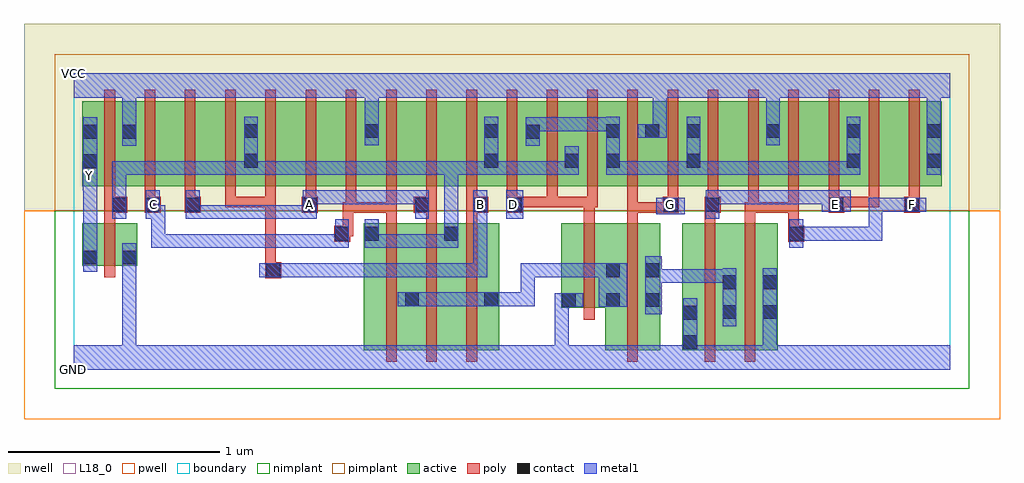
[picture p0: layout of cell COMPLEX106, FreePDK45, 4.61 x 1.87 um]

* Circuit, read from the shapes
.subckt COMPLEX106 A B C D E F G GND VCC Y
M1 GND n1 Y VSUBS nfet w=0.2u l=0.05u
M2 n2 C n1 VSUBS nfet w=0.6u l=0.05u
M3 n1 A n2 VSUBS nfet w=0.6u l=0.05u
M4 n2 B n1 VSUBS nfet w=0.6u l=0.05u
M5 n2 D GND VSUBS nfet w=0.4u l=0.05u
M6 n3 G n2 VSUBS nfet w=0.6u l=0.05u
M7 n3 E GND VSUBS nfet w=0.6u l=0.05u
M8 GND F n3 VSUBS nfet w=0.6u l=0.05u
M9 VCC n1 Y n4 pfet w=0.4u l=0.05u
M10 n5 C VCC n4 pfet w=0.4u l=0.05u
M11 n6 A n5 n4 pfet w=0.4u l=0.05u
M12 n1 B n6 n4 pfet w=0.4u l=0.05u
M13 n7 B n1 n4 pfet w=0.4u l=0.05u
M14 n8 A n7 n4 pfet w=0.4u l=0.05u
M15 VCC C n8 n4 pfet w=0.4u l=0.05u
M16 n9 C VCC n4 pfet w=0.4u l=0.05u
M17 n10 A n9 n4 pfet w=0.4u l=0.05u
M18 n1 B n10 n4 pfet w=0.4u l=0.05u
M19 n11 D n1 n4 pfet w=0.4u l=0.05u m=3
M20 VCC G n11 n4 pfet w=0.4u l=0.05u m=2
M21 n12 E n11 n4 pfet w=0.4u l=0.05u
M22 VCC F n12 n4 pfet w=0.4u l=0.05u
M23 n13 F VCC n4 pfet w=0.4u l=0.05u
M24 n11 E n13 n4 pfet w=0.4u l=0.05u
M25 n14 E n11 n4 pfet w=0.4u l=0.05u
M26 VCC F n14 n4 pfet w=0.4u l=0.05u
.ends

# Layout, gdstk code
import gdstk
lib = gdstk.Library(unit=1e-6, precision=1e-09)
def R(c, l, rs):  # rectangles x0, y0, x1, y1
    for r in rs: c.add(gdstk.rectangle(r[:2], r[2:], *l))
def A(c, l, x, y, w, h, nx, ny, dx, dy):  # array of equal rectangles
    R(c, l, [(x+i*dx, y+j*dy, x+i*dx+w, y+j*dy+h) for i in range(nx) for j in range(ny)])
active = (1, 0)
pwell = (2, 0)
nwell = (3, 0)
nimplant = (4, 0)
pimplant = (5, 0)
poly = (9, 0)
contact = (10, 0)
metal1 = (11, 0)
L18_0 = (18, 0)
boundary = (235, 0)

complex106 = lib.new_cell('COMPLEX106')
A(complex106, active, 0.455, 0.867, 0.19, 0.4, 3, 1, 0.57, 0)
A(complex106, active, 1.935, 0.867, 0.27, 0.4, 3, 1, 0.38, 0)
A(complex106, active, 3.115, 0.867, 0.225, 0.4, 3, 1, 0.38, 0)
R(complex106, active, [(1.37,0.092,1.635,0.692), (1.56,0.092,1.82,0.692), (1.745,0.092,2.01,0.692), (2.51,0.092,2.77,0.692), (2.875,0.092,2.95,0.692), (2.875,0.092,3.135,0.692), (3.06,0.092,3.325,0.692), (3.25,0.092,3.325,0.692), (1.37,0.095,1.445,0.692), (1.56,0.095,1.635,0.68), (1.745,0.095,1.82,0.692), (1.935,0.095,2.01,0.692), (2.695,0.095,2.77,0.692), (3.06,0.095,3.135,0.692), (2.51,0.2,2.585,0.507), (2.302,0.292,2.585,0.692), (2.302,0.292,2.377,0.692), (0.04,0.492,0.115,0.692), (0.04,0.492,0.3,0.692), (0.225,0.492,0.3,0.692), (0.04,0.867,0.115,1.2), (0.04,0.867,0.3,1.267), (0.225,0.867,0.455,1.267), (0.645,0.867,0.875,1.267), (0.8,0.867,1.025,1.267), (0.8,0.867,0.875,1.2), (1.215,0.867,1.445,1.267), (1.37,0.867,1.445,1.267), (1.37,0.867,1.595,1.267), (1.785,0.867,2.01,1.267), (1.935,0.867,2.01,1.2), (2.13,0.867,2.39,1.267), (2.315,0.867,2.39,1.07), (2.51,0.867,2.585,1.2), (2.51,0.867,2.77,1.267), (2.695,0.867,2.77,1.267), (2.89,0.867,3.115,1.267), (2.89,0.867,2.965,1.2), (3.265,0.867,3.495,1.267), (3.645,0.867,3.875,1.267), (4.025,0.867,4.1,1.205), (0.225,0.907,0.3,1.205), (2.13,0.907,2.205,1.2), (3.265,0.907,3.34,1.242), (3.645,0.907,3.72,1.2)])
R(complex106, pwell, [(-0.235,-0.235,4.375,0.75)])
R(complex106, nwell, [(-0.235,0.75,4.375,1.635)])
R(complex106, nimplant, [(-0.09,-0.09,4.23,0.75)])
R(complex106, pimplant, [(-0.09,0.75,4.23,1.49)])
A(complex106, poly, 1.475, 0.037, 0.05, 0.71, 3, 1, 0.19, 0)
A(complex106, poly, 1.475, 0.697, 0.05, 0.095, 3, 1, 0.19, 0)
A(complex106, poly, 0.145, 0.767, 0.05, 0.095, 6, 1, 0.19, 0)
A(complex106, poly, 1.665, 0.767, 0.05, 0.095, 5, 1, 0.19, 0)
A(complex106, poly, 3.565, 0.767, 0.05, 0.095, 3, 1, 0.19, 0)
A(complex106, poly, 0.145, 0.812, 0.05, 0.51, 21, 1, 0.19, 0)
R(complex106, poly, [(2.615,0.037,2.665,0.747), (2.98,0.037,3.03,0.747), (3.17,0.037,3.22,0.747), (2.41,0.237,2.46,0.747), (0.905,0.432,0.98,0.507), (0.145,0.437,0.195,0.747), (0.905,0.457,0.955,0.507), (0.905,0.457,0.955,0.507), (0.905,0.457,0.955,0.817), (1.23,0.605,1.305,0.68), (3.375,0.605,3.45,0.68), (1.255,0.63,1.305,0.68), (1.255,0.63,1.32,0.68), (1.27,0.63,1.32,0.792), (3.375,0.63,3.425,0.68), (3.375,0.63,3.425,0.68), (3.375,0.63,3.425,0.792), (0.145,0.697,0.195,0.792), (2.41,0.697,2.46,0.817), (2.615,0.697,2.665,0.792), (2.98,0.697,3.03,0.792), (3.17,0.697,3.22,0.792), (0.145,0.742,0.252,0.817), (0.335,0.742,0.41,0.817), (0.525,0.742,0.6,0.817), (1.077,0.742,1.152,0.817), (1.27,0.742,1.335,0.792), (1.285,0.742,1.335,0.862), (1.285,0.742,1.525,0.792), (1.475,0.742,1.525,0.792), (1.475,0.742,1.525,0.792), (1.475,0.742,1.525,0.792), (1.475,0.742,1.525,0.862), (1.607,0.742,1.715,0.817), (1.855,0.742,1.957,0.817), (2.045,0.742,2.12,0.817), (2.615,0.742,2.665,0.792), (2.615,0.742,2.665,0.792), (2.615,0.742,2.665,0.792), (2.615,0.742,2.665,0.862), (2.615,0.742,2.832,0.792), (2.782,0.742,2.857,0.817), (2.98,0.742,3.055,0.817), (3.17,0.742,3.235,0.792), (3.185,0.742,3.235,0.792), (3.185,0.742,3.235,0.792), (3.185,0.742,3.235,0.862), (3.185,0.742,3.425,0.792), (3.375,0.742,3.425,0.792), (3.375,0.742,3.425,0.862), (3.565,0.742,3.64,0.817), (3.922,0.742,3.997,0.817), (0.715,0.767,0.765,0.817), (0.715,0.767,0.955,0.817), (0.905,0.767,0.955,0.817), (0.905,0.767,0.955,0.817), (0.905,0.767,0.955,0.817), (2.07,0.767,2.285,0.817), (2.235,0.767,2.285,0.817), (2.235,0.767,2.285,0.817), (2.235,0.767,2.285,0.817), (2.235,0.767,2.46,0.817), (2.41,0.767,2.46,0.817), (2.41,0.767,2.46,0.817), (2.41,0.767,2.475,0.817), (2.805,0.767,2.855,0.862), (2.995,0.767,3.045,0.862), (3.59,0.767,3.805,0.817), (3.755,0.767,3.805,0.817), (3.755,0.767,3.805,0.817), (3.755,0.767,3.805,0.817)])
A(complex106, contact, 3.27, 1.095, 0.065, 0.065, 3, 1, 0.38, 0)
R(complex106, contact, [(2.88,0.097,2.945,0.162), (2.88,0.237,2.945,0.302), (3.065,0.24,3.13,0.305), (3.255,0.24,3.32,0.305), (2.307,0.297,2.372,0.362), (2.515,0.297,2.58,0.362), (2.7,0.297,2.765,0.362), (1.565,0.3,1.63,0.365), (1.94,0.3,2.005,0.365), (3.065,0.38,3.13,0.445), (3.255,0.38,3.32,0.445), (0.91,0.437,0.975,0.502), (2.515,0.437,2.58,0.502), (2.7,0.437,2.765,0.502), (0.045,0.497,0.11,0.562), (0.23,0.497,0.295,0.562), (1.235,0.61,1.3,0.675), (1.375,0.61,1.44,0.675), (1.75,0.61,1.815,0.675), (3.38,0.61,3.445,0.675), (0.182,0.747,0.247,0.812), (0.34,0.747,0.405,0.812), (0.53,0.747,0.595,0.812), (1.082,0.747,1.147,0.812), (1.612,0.747,1.677,0.812), (1.887,0.747,1.952,0.812), (2.05,0.747,2.115,0.812), (2.787,0.747,2.852,0.812), (2.985,0.747,3.05,0.812), (3.57,0.747,3.635,0.812), (3.927,0.747,3.992,0.812), (0.045,0.952,0.11,1.017), (0.805,0.955,0.87,1.02), (1.94,0.955,2.005,1.02), (2.32,0.955,2.385,1.02), (2.515,0.955,2.58,1.02), (2.895,0.955,2.96,1.02), (3.65,0.955,3.715,1.02), (4.03,0.955,4.095,1.02), (0.045,1.092,0.11,1.157), (0.23,1.092,0.295,1.157), (2.135,1.092,2.2,1.157), (0.805,1.095,0.87,1.16), (1.375,1.095,1.44,1.16), (1.94,1.095,2.005,1.16), (2.515,1.095,2.58,1.16), (2.7,1.095,2.765,1.16), (2.895,1.095,2.96,1.16)])
R(complex106, metal1, [(0,0,4.14,0.115), (0.23,0.05,0.295,0.115), (0.23,0.05,0.295,0.115), (0.23,0.05,0.295,0.115), (0.23,0.05,0.295,0.115), (0.23,0.05,0.295,0.115), (0.23,0.05,0.295,0.115), (0.23,0.05,0.295,0.527), (2.272,0.05,2.337,0.115), (2.272,0.05,2.337,0.115), (2.272,0.05,2.337,0.362), (2.88,0.05,2.945,0.12), (3.255,0.05,3.32,0.27), (2.88,0.055,2.945,0.337), (3.065,0.205,3.13,0.48), (3.255,0.205,3.32,0.48), (2.7,0.262,2.777,0.537), (2.272,0.297,2.407,0.362), (2.48,0.297,2.615,0.502), (1.53,0.3,1.665,0.365), (1.6,0.3,1.665,0.365), (1.6,0.3,1.665,0.365), (1.6,0.3,1.815,0.365), (1.75,0.3,1.815,0.365), (1.75,0.3,1.97,0.365), (1.905,0.3,1.97,0.365), (1.905,0.3,1.97,0.365), (1.905,0.3,2.04,0.365), (1.975,0.3,2.177,0.365), (2.112,0.3,2.177,0.365), (2.112,0.3,2.177,0.365), (2.112,0.3,2.177,0.365), (2.112,0.3,2.177,0.365), (2.112,0.3,2.177,0.365), (2.112,0.3,2.177,0.502), (2.712,0.41,2.777,0.475), (2.712,0.41,2.777,0.475), (2.712,0.41,2.975,0.475), (2.91,0.41,2.975,0.475), (2.91,0.41,2.975,0.475), (2.91,0.41,2.975,0.475), (2.91,0.41,3.13,0.475), (0.875,0.437,1.01,0.502), (0.945,0.437,1.147,0.502), (1.082,0.437,1.147,0.502), (1.082,0.437,1.147,0.502), (1.082,0.437,1.147,0.502), (1.082,0.437,1.147,0.502), (1.082,0.437,1.147,0.502), (1.082,0.437,1.3,0.502), (1.235,0.437,1.3,0.502), (1.235,0.437,1.302,0.502), (1.237,0.437,1.302,0.502), (1.237,0.437,1.44,0.502), (1.375,0.437,1.44,0.502), (1.375,0.437,1.44,0.502), (1.375,0.437,1.44,0.502), (1.375,0.437,1.577,0.502), (1.512,0.437,1.577,0.502), (1.512,0.437,1.577,0.502), (1.512,0.437,1.577,0.502), (1.512,0.437,1.815,0.502), (1.75,0.437,1.815,0.502), (1.75,0.437,1.952,0.502), (1.887,0.437,1.952,0.502), (1.887,0.437,1.952,0.502), (1.887,0.437,1.952,0.502), (1.887,0.437,1.952,0.502), (1.887,0.437,1.952,0.515), (2.112,0.437,2.177,0.502), (2.112,0.437,2.177,0.502), (2.112,0.437,2.177,0.502), (2.112,0.437,2.365,0.502), (2.3,0.437,2.365,0.502), (2.3,0.437,2.365,0.502), (2.3,0.437,2.365,0.502), (2.3,0.437,2.502,0.502), (2.437,0.437,2.502,0.502), (2.437,0.437,2.545,0.502), (1.887,0.45,1.952,0.515), (1.887,0.45,1.952,0.515), (1.887,0.45,1.952,0.777), (0.045,0.462,0.11,0.597), (0.23,0.462,0.295,0.597), (0.045,0.532,0.11,0.912), (0.367,0.575,0.432,0.64), (0.367,0.575,0.432,0.777), (0.367,0.575,0.57,0.64), (0.505,0.575,0.57,0.64), (0.505,0.575,0.57,0.64), (0.505,0.575,0.57,0.64), (0.505,0.575,0.732,0.64), (0.667,0.575,0.732,0.64), (0.667,0.575,0.732,0.64), (0.667,0.575,0.732,0.64), (0.667,0.575,0.87,0.64), (0.805,0.575,0.87,0.64), (0.805,0.575,1.147,0.64), (1.082,0.575,1.147,0.64), (1.082,0.575,1.147,0.64), (1.082,0.575,1.147,0.64), (1.082,0.575,1.3,0.64), (1.235,0.575,1.3,0.64), (1.235,0.575,1.3,0.64), (1.235,0.575,1.3,0.64), (1.235,0.575,1.3,0.64), (1.235,0.575,1.3,0.71), (1.375,0.575,1.44,0.64), (1.375,0.575,1.44,0.64), (1.375,0.575,1.577,0.64), (1.375,0.575,1.44,0.71), (1.512,0.575,1.577,0.64), (1.512,0.575,1.577,0.64), (1.512,0.575,1.577,0.64), (1.512,0.575,1.815,0.64), (1.75,0.575,1.815,0.71), (3.38,0.575,3.445,0.71), (3.38,0.61,3.445,0.675), (3.38,0.61,3.445,0.675), (3.38,0.61,3.445,0.675), (3.38,0.61,3.445,0.675), (3.38,0.61,3.682,0.675), (3.617,0.61,3.682,0.675), (3.617,0.61,3.82,0.675), (3.755,0.61,3.82,0.675), (3.755,0.61,3.82,0.812), (1.75,0.645,1.815,0.985), (0.182,0.712,0.247,0.847), (0.34,0.712,0.407,0.847), (0.342,0.712,0.432,0.777), (0.367,0.712,0.432,0.777), (0.53,0.712,0.595,0.777), (0.53,0.712,0.595,0.777), (0.53,0.712,0.732,0.777), (0.53,0.712,0.595,0.847), (0.667,0.712,0.732,0.777), (0.667,0.712,1.01,0.777), (0.945,0.712,1.01,0.777), (0.945,0.712,1.01,0.777), (0.945,0.712,1.01,0.777), (0.945,0.712,1.147,0.777), (1.082,0.712,1.147,0.777), (1.082,0.712,1.147,0.777), (1.082,0.712,1.147,0.847), (1.612,0.712,1.677,0.847), (1.887,0.712,1.952,0.777), (1.887,0.712,1.952,0.777), (1.887,0.712,1.952,0.847), (2.042,0.712,2.122,0.847), (2.985,0.712,3.05,0.847), (2.752,0.735,2.887,0.812), (3.532,0.747,3.67,0.847), (3.755,0.747,3.82,0.812), (3.755,0.747,3.82,0.812), (3.755,0.747,3.82,0.812), (3.755,0.747,3.957,0.812), (3.892,0.747,3.957,0.812), (3.892,0.747,3.957,0.812), (3.892,0.747,4.027,0.812), (0.182,0.782,0.247,0.847), (0.182,0.782,0.247,0.847), (0.182,0.782,0.247,0.985), (1.082,0.782,1.302,0.847), (1.237,0.782,1.302,0.847), (1.237,0.782,1.302,0.847), (1.237,0.782,1.302,0.847), (1.237,0.782,1.44,0.847), (1.375,0.782,1.44,0.847), (1.375,0.782,1.44,0.847), (1.375,0.782,1.44,0.847), (1.375,0.782,1.677,0.847), (1.612,0.782,1.677,0.847), (1.612,0.782,1.677,0.847), (2.985,0.782,3.17,0.847), (3.105,0.782,3.17,0.847), (3.105,0.782,3.307,0.847), (3.242,0.782,3.307,0.847), (3.242,0.782,3.307,0.847), (3.242,0.782,3.307,0.847), (3.242,0.782,3.46,0.847), (3.395,0.782,3.46,0.847), (3.395,0.782,3.46,0.847), (3.395,0.782,3.46,0.847), (3.395,0.782,3.597,0.847), (0.042,0.847,0.11,0.982), (0.045,0.917,0.11,1.192), (0.045,0.917,0.11,0.982), (0.182,0.92,0.247,0.985), (0.182,0.92,0.432,0.985), (0.367,0.92,0.432,0.985), (0.367,0.92,0.432,0.985), (0.367,0.92,0.432,0.985), (0.367,0.92,0.57,0.985), (0.505,0.92,0.57,0.985), (0.505,0.92,0.57,0.985), (0.505,0.92,0.57,0.985), (0.505,0.92,0.732,0.985), (0.667,0.92,0.732,0.985), (0.667,0.92,0.87,0.985), (0.805,0.92,0.87,1.195), (0.805,0.92,0.87,0.985), (0.805,0.92,0.87,0.985), (0.805,0.92,1.162,0.985), (1.097,0.92,1.162,0.985), (1.097,0.92,1.162,0.985), (1.097,0.92,1.162,0.985), (1.097,0.92,1.3,0.985), (1.235,0.92,1.3,0.985), (1.235,0.92,1.302,0.985), (1.237,0.92,1.302,0.985), (1.237,0.92,1.44,0.985), (1.375,0.92,1.44,0.985), (1.375,0.92,1.44,0.985), (1.375,0.92,1.44,0.985), (1.375,0.92,1.677,0.985), (1.612,0.92,1.677,0.985), (1.612,0.92,1.677,0.985), (1.612,0.92,1.677,0.985), (1.612,0.92,1.815,0.985), (1.75,0.92,1.815,0.985), (1.75,0.92,1.815,0.985), (1.75,0.92,1.815,0.985), (1.75,0.92,1.815,0.985), (1.75,0.92,1.815,0.985), (1.75,0.92,2.005,0.985), (1.94,0.92,2.005,1.195), (1.94,0.92,2.177,0.985), (2.112,0.92,2.177,0.985), (2.112,0.92,2.177,0.985), (2.112,0.92,2.177,0.985), (2.112,0.92,2.365,0.985), (2.3,0.92,2.365,0.985), (2.3,0.92,2.385,0.985), (2.32,0.92,2.385,1.055), (2.515,0.92,2.58,1.195), (2.515,0.92,2.58,0.985), (2.515,0.92,2.58,0.985), (2.515,0.92,2.64,0.985), (2.575,0.92,2.64,0.985), (2.575,0.92,2.807,0.985), (2.742,0.92,2.807,0.985), (2.742,0.92,2.807,0.985), (2.742,0.92,2.807,0.985), (2.742,0.92,2.96,0.985), (2.895,0.92,2.96,1.195), (2.895,0.92,3.13,0.985), (3.065,0.92,3.13,0.985), (3.065,0.92,3.13,0.985), (3.065,0.92,3.13,0.985), (3.065,0.92,3.307,0.985), (3.242,0.92,3.307,0.985), (3.242,0.92,3.307,0.985), (3.242,0.92,3.307,0.985), (3.242,0.92,3.46,0.985), (3.395,0.92,3.46,0.985), (3.395,0.92,3.46,0.985), (3.395,0.92,3.46,0.985), (3.395,0.92,3.597,0.985), (3.532,0.92,3.597,0.985), (3.532,0.92,3.715,0.985), (3.65,0.92,3.715,1.195), (4.03,0.92,4.095,1.195), (0.23,1.057,0.295,1.192), (2.135,1.057,2.2,1.192), (1.375,1.06,1.44,1.195), (3.27,1.06,3.335,1.195), (2.665,1.095,2.8,1.16), (2.735,1.095,2.8,1.35), (0.23,1.127,0.295,1.35), (2.135,1.127,2.365,1.192), (2.3,1.127,2.365,1.192), (2.3,1.127,2.365,1.192), (2.3,1.127,2.365,1.192), (2.3,1.127,2.502,1.192), (2.437,1.127,2.502,1.192), (2.437,1.127,2.58,1.192), (1.375,1.13,1.44,1.35), (3.27,1.13,3.335,1.35), (4.03,1.13,4.095,1.35), (0,1.285,4.14,1.4)])
R(complex106, L18_0, [(0,0,4.14,0.115), (0.23,0.05,0.295,0.115), (0.23,0.05,0.295,0.115), (0.23,0.05,0.295,0.115), (0.23,0.05,0.295,0.115), (0.23,0.05,0.295,0.115), (0.23,0.05,0.295,0.115), (0.23,0.05,0.295,0.527), (2.272,0.05,2.337,0.115), (2.272,0.05,2.337,0.115), (2.272,0.05,2.337,0.362), (2.88,0.05,2.945,0.12), (3.255,0.05,3.32,0.27), (2.88,0.055,2.945,0.337), (3.255,0.205,3.32,0.48), (2.272,0.297,2.407,0.362), (0.875,0.437,1.01,0.502), (0.945,0.437,1.147,0.502), (1.082,0.437,1.147,0.502), (1.082,0.437,1.147,0.502), (1.082,0.437,1.147,0.502), (1.082,0.437,1.147,0.502), (1.082,0.437,1.147,0.502), (1.082,0.437,1.3,0.502), (1.235,0.437,1.3,0.502), (1.235,0.437,1.302,0.502), (1.237,0.437,1.302,0.502), (1.237,0.437,1.44,0.502), (1.375,0.437,1.44,0.502), (1.375,0.437,1.44,0.502), (1.375,0.437,1.44,0.502), (1.375,0.437,1.577,0.502), (1.512,0.437,1.577,0.502), (1.512,0.437,1.577,0.502), (1.512,0.437,1.577,0.502), (1.512,0.437,1.815,0.502), (1.75,0.437,1.815,0.502), (1.75,0.437,1.952,0.502), (1.887,0.437,1.952,0.502), (1.887,0.437,1.952,0.502), (1.887,0.437,1.952,0.502), (1.887,0.437,1.952,0.502), (1.887,0.437,1.952,0.515), (1.887,0.45,1.952,0.515), (1.887,0.45,1.952,0.515), (1.887,0.45,1.952,0.777), (0.045,0.462,0.11,0.597), (0.23,0.462,0.295,0.597), (0.045,0.532,0.11,0.912), (0.367,0.575,0.432,0.64), (0.367,0.575,0.432,0.777), (0.367,0.575,0.57,0.64), (0.505,0.575,0.57,0.64), (0.505,0.575,0.57,0.64), (0.505,0.575,0.57,0.64), (0.505,0.575,0.732,0.64), (0.667,0.575,0.732,0.64), (0.667,0.575,0.732,0.64), (0.667,0.575,0.732,0.64), (0.667,0.575,0.87,0.64), (0.805,0.575,0.87,0.64), (0.805,0.575,1.147,0.64), (1.082,0.575,1.147,0.64), (1.082,0.575,1.147,0.64), (1.082,0.575,1.147,0.64), (1.082,0.575,1.3,0.64), (1.235,0.575,1.3,0.71), (1.235,0.575,1.3,0.64), (1.235,0.575,1.3,0.64), (1.235,0.575,1.3,0.64), (1.235,0.575,1.3,0.64), (3.38,0.575,3.445,0.71), (3.38,0.61,3.445,0.675), (3.38,0.61,3.445,0.675), (3.38,0.61,3.445,0.675), (3.38,0.61,3.445,0.675), (3.38,0.61,3.682,0.675), (3.617,0.61,3.682,0.675), (3.617,0.61,3.82,0.675), (3.755,0.61,3.82,0.675), (3.755,0.61,3.82,0.812), (0.34,0.712,0.407,0.847), (0.342,0.712,0.432,0.777), (0.367,0.712,0.432,0.777), (0.53,0.712,0.595,0.847), (0.53,0.712,0.595,0.777), (0.53,0.712,0.595,0.777), (0.53,0.712,0.732,0.777), (0.667,0.712,0.732,0.777), (0.667,0.712,1.01,0.777), (0.945,0.712,1.01,0.777), (0.945,0.712,1.01,0.777), (0.945,0.712,1.01,0.777), (0.945,0.712,1.147,0.777), (1.082,0.712,1.147,0.847), (1.082,0.712,1.147,0.777), (1.082,0.712,1.147,0.777), (1.612,0.712,1.677,0.847), (1.887,0.712,1.952,0.847), (1.887,0.712,1.952,0.777), (1.887,0.712,1.952,0.777), (2.042,0.712,2.122,0.847), (2.985,0.712,3.05,0.847), (2.752,0.735,2.887,0.812), (0.342,0.747,0.407,0.812), (1.082,0.747,1.147,0.812), (1.887,0.747,1.952,0.812), (2.042,0.747,2.107,0.812), (2.787,0.747,2.852,0.812), (3.532,0.747,3.67,0.847), (3.567,0.747,3.632,0.812), (3.755,0.747,3.82,0.812), (3.755,0.747,3.82,0.812), (3.755,0.747,3.82,0.812), (3.755,0.747,3.957,0.812), (3.892,0.747,3.957,0.812), (3.892,0.747,3.957,0.812), (3.892,0.747,4.027,0.812), (3.927,0.747,3.992,0.812), (1.082,0.782,1.302,0.847), (1.237,0.782,1.302,0.847), (1.237,0.782,1.302,0.847), (1.237,0.782,1.302,0.847), (1.237,0.782,1.44,0.847), (1.375,0.782,1.44,0.847), (1.375,0.782,1.44,0.847), (1.375,0.782,1.44,0.847), (1.375,0.782,1.677,0.847), (1.612,0.782,1.677,0.847), (1.612,0.782,1.677,0.847), (2.985,0.782,3.17,0.847), (3.105,0.782,3.17,0.847), (3.105,0.782,3.307,0.847), (3.242,0.782,3.307,0.847), (3.242,0.782,3.307,0.847), (3.242,0.782,3.307,0.847), (3.242,0.782,3.46,0.847), (3.395,0.782,3.46,0.847), (3.395,0.782,3.46,0.847), (3.395,0.782,3.46,0.847), (3.395,0.782,3.597,0.847), (0.042,0.847,0.11,0.982), (0.042,0.882,0.107,0.947), (0.045,0.917,0.11,1.192), (0.045,0.917,0.11,0.982), (4.03,0.92,4.095,1.195), (0.23,1.057,0.295,1.192), (1.375,1.06,1.44,1.195), (3.27,1.06,3.335,1.195), (2.665,1.095,2.8,1.16), (2.735,1.095,2.8,1.35), (0.23,1.127,0.295,1.35), (1.375,1.13,1.44,1.35), (3.27,1.13,3.335,1.35), (4.03,1.13,4.095,1.35), (0,1.285,4.14,1.4)])
R(complex106, boundary, [(0,0,4.14,1.4)])
complex106.add(gdstk.Label('A', (1.115,0.78), layer=11, texttype=0))
complex106.add(gdstk.Label('B', (1.92,0.78), layer=11, texttype=0))
complex106.add(gdstk.Label('C', (0.375,0.78), layer=11, texttype=0))
complex106.add(gdstk.Label('D', (2.075,0.78), layer=11, texttype=0))
complex106.add(gdstk.Label('E', (3.6,0.78), layer=11, texttype=0))
complex106.add(gdstk.Label('F', (3.96,0.78), layer=11, texttype=0))
complex106.add(gdstk.Label('G', (2.82,0.78), layer=11, texttype=0))
complex106.add(gdstk.Label('Y', (0.075,0.915), layer=11, texttype=0))
complex106.add(gdstk.Label('VCC', (0,1.4), layer=11, texttype=0))
complex106.add(gdstk.Label('GND', (0,0), layer=11, texttype=0))

lib.write_gds('COMPLEX106.gds')
